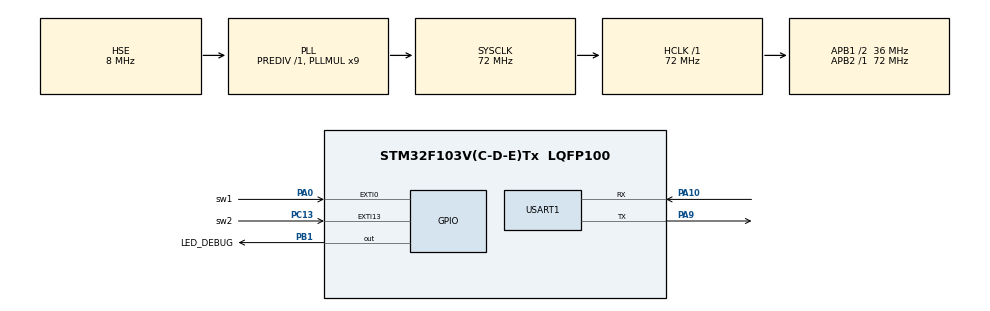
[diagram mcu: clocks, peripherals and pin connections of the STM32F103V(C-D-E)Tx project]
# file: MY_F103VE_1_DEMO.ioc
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Mcu.Family=STM32F1
Mcu.Name=STM32F103V(C-D-E)Tx
Mcu.Package=LQFP100
NVIC.EXTI0_IRQn=true\:0\:0\:false\:false\:true\:true\:true\:true
NVIC.EXTI15_10_IRQn=true\:0\:0\:false\:false\:true\:true\:true\:true
NVIC.PriorityGroup=NVIC_PRIORITYGROUP_4
NVIC.USART1_IRQn=true\:0\:0\:false\:false\:true\:true\:true\:true
OSC_IN.Mode=HSE-External-Oscillator
OSC_IN.Signal=RCC_OSC_IN
OSC_OUT.Mode=HSE-External-Oscillator
OSC_OUT.Signal=RCC_OSC_OUT
PA0-WKUP.GPIO_Label=sw1
PA0-WKUP.GPIO_ModeDefaultEXTI=GPIO_MODE_IT_RISING_FALLING
PA0-WKUP.GPIO_PuPd=GPIO_PULLUP
PA0-WKUP.Signal=GPXTI0
PA10.Mode=Asynchronous
PA10.Signal=USART1_RX
PA9.Mode=Asynchronous
PA9.Signal=USART1_TX
PB1.GPIO_Label=LED_DEBUG
PB1.PinState=GPIO_PIN_SET
PB1.Signal=GPIO_Output
PC13-TAMPER-RTC.GPIO_Label=sw2
PC13-TAMPER-RTC.GPIO_ModeDefaultEXTI=GPIO_MODE_IT_RISING_FALLING
PC13-TAMPER-RTC.GPIO_PuPd=GPIO_PULLUP
PC13-TAMPER-RTC.Signal=GPXTI13
ProjectManager.HeapSize=0x200
ProjectManager.StackSize=0x400
ProjectManager.TargetToolchain=MDK-ARM V5.32
RCC.AHBFreq_Value=72000000
RCC.APB1CLKDivider=RCC_HCLK_DIV2
RCC.APB1Freq_Value=36000000
RCC.APB1TimFreq_Value=72000000
RCC.APB2Freq_Value=72000000
RCC.APB2TimFreq_Value=72000000
RCC.HCLKFreq_Value=72000000
RCC.PLLMUL=RCC_PLL_MUL9
RCC.PLLSourceVirtual=RCC_PLLSOURCE_HSE
RCC.SYSCLKFreq_VALUE=72000000
RCC.SYSCLKSource=RCC_SYSCLKSOURCE_PLLCLK
RCC.USBFreq_Value=72000000
USART1.VirtualMode=VM_ASYNC
VP_SYS_VS_ND.Mode=No_Debug
board=custom

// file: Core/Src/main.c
/* USER CODE BEGIN Header */
/**
  ******************************************************************************
  * @file           : main.c
  * @brief          : Main program body
  ******************************************************************************
  * @attention
  *
  * Copyright (c) 2024 STMicroelectronics.
  * All rights reserved.
  *
  * This software is licensed under terms that can be found in the LICENSE file
  * in the root directory of this software component.
  * If no LICENSE file comes with this software, it is provided AS-IS.
  *
  ******************************************************************************
  */
/* USER CODE END Header */
#include "main.h"

/* USER CODE BEGIN Includes */
#include "ws_drive_borad.h"
/* USER CODE END Includes */

UART_HandleTypeDef huart1;

/* USER CODE BEGIN PV */
uint8_t uart1RxBuffer[128];
uint8_t uart1RxDat = 0;
uint16_t uart1RxCount = 0;
uint8_t uart1RxTimeout = 0;
/* USER CODE END PV */

void SystemClock_Config(void);
static void MX_GPIO_Init(void);
static void MX_USART1_UART_Init(void);

/* USER CODE BEGIN 0 */
void HAL_UART_RxCpltCallback(UART_HandleTypeDef *huart)
{
  /* Prevent unused argument(s) compilation warning */
  UNUSED(huart);
  /* NOTE: This function should not be modified, when the callback is needed,
           the HAL_UART_RxCpltCallback could be implemented in the user file
   */
	if(huart == &huart1)
	{
//		HAL_UART_Transmit_IT(&huart1,uart1RxBuffer,1);
		uart1RxBuffer[uart1RxCount ++] = uart1RxDat;
		if(uart1RxCount >= sizeof(uart1RxBuffer))
		{
			uart1RxCount = sizeof(uart1RxBuffer) - 1;
		}
		uart1RxTimeout = 1; //超时为1
		HAL_UART_Receive_IT(&huart1,&uart1RxDat,1);
	}
}

/* USER CODE END 0 */

int main(void)
{

  /* USER CODE BEGIN 1 */
	int count=0;
	uint8_t key = 0;
  /* USER CODE END 1 */

  /* MCU Configuration--------------------------------------------------------*/

  /* Reset of all peripherals, Initializes the Flash interface and the Systick. */
  HAL_Init();

  /* Configure the system clock */
  SystemClock_Config();

  /* Initialize all configured peripherals */
  MX_GPIO_Init();
  MX_USART1_UART_Init();
  /* USER CODE BEGIN 2 */

  WS_Debug("HCLK = %d\r\n",SystemCoreClock);

  HAL_UART_Receive_IT(&huart1,&uart1RxDat,1);

  /*
1.先使能DWT外设,由内核调试寄存器DWT_CR的位24控制，写1使能

2.使能CYCCNT寄存器之前，先清0

3.使能CYCNNT寄存器，由DWT_CTRL的位0控制，写1使能
  */
  //DWT初始化
  CoreDebug->DEMCR |= 1 << 24 ;    //使能DWT外设
  DWT->CYCCNT       = 0;           //清零CYCCNT
  DWT->CTRL        |= 1 << 0;     //使能计数

  /* USER CODE END 2 */

  /* Infinite loop */
  /* USER CODE BEGIN WHILE */
  while (1)
  {
	if(uart1RxTimeout > 0)
	{
		if(++ uart1RxTimeout == 5)
		{
			uart1RxTimeout = 0;
			HAL_UART_Transmit_IT(&huart1,uart1RxBuffer,uart1RxCount);
			uart1RxCount = 0; //实时发送接收
		}

	}

	HAL_Delay(1); //延时一下

    /* USER CODE END WHILE */

  }
}

void SystemClock_Config(void)
{
  RCC_OscInitTypeDef RCC_OscInitStruct = {0};
  RCC_ClkInitTypeDef RCC_ClkInitStruct = {0};

  /** Initializes the RCC Oscillators according to the specified parameters
  * in the RCC_OscInitTypeDef structure.
  */
  RCC_OscInitStruct.OscillatorType = RCC_OSCILLATORTYPE_HSE;
  RCC_OscInitStruct.HSEState = RCC_HSE_ON;
  RCC_OscInitStruct.HSEPredivValue = RCC_HSE_PREDIV_DIV1;
  RCC_OscInitStruct.HSIState = RCC_HSI_ON;
  RCC_OscInitStruct.PLL.PLLState = RCC_PLL_ON;
  RCC_OscInitStruct.PLL.PLLSource = RCC_PLLSOURCE_HSE;
  RCC_OscInitStruct.PLL.PLLMUL = RCC_PLL_MUL9;
  if (HAL_RCC_OscConfig(&RCC_OscInitStruct) != HAL_OK)
  {
    Error_Handler();
  }

  /** Initializes the CPU, AHB and APB buses clocks
  */
  RCC_ClkInitStruct.ClockType = RCC_CLOCKTYPE_HCLK|RCC_CLOCKTYPE_SYSCLK
                              |RCC_CLOCKTYPE_PCLK1|RCC_CLOCKTYPE_PCLK2;
  RCC_ClkInitStruct.SYSCLKSource = RCC_SYSCLKSOURCE_PLLCLK;
  RCC_ClkInitStruct.AHBCLKDivider = RCC_SYSCLK_DIV1;
  RCC_ClkInitStruct.APB1CLKDivider = RCC_HCLK_DIV2;
  RCC_ClkInitStruct.APB2CLKDivider = RCC_HCLK_DIV1;

  if (HAL_RCC_ClockConfig(&RCC_ClkInitStruct, FLASH_LATENCY_2) != HAL_OK)
  {
    Error_Handler();
  }
}

static void MX_USART1_UART_Init(void)
{

  huart1.Instance = USART1;
  huart1.Init.BaudRate = 115200;
  huart1.Init.WordLength = UART_WORDLENGTH_8B;
  huart1.Init.StopBits = UART_STOPBITS_1;
  huart1.Init.Parity = UART_PARITY_NONE;
  huart1.Init.Mode = UART_MODE_TX_RX;
  huart1.Init.HwFlowCtl = UART_HWCONTROL_NONE;
  huart1.Init.OverSampling = UART_OVERSAMPLING_16;
  if (HAL_UART_Init(&huart1) != HAL_OK)
  {
    Error_Handler();
  }

}

static void MX_GPIO_Init(void)
{
  GPIO_InitTypeDef GPIO_InitStruct = {0};

  /* GPIO Ports Clock Enable */
  __HAL_RCC_GPIOC_CLK_ENABLE();
  __HAL_RCC_GPIOA_CLK_ENABLE();
  __HAL_RCC_GPIOB_CLK_ENABLE();

  /*Configure GPIO pin Output Level */
  HAL_GPIO_WritePin(LED_DEBUG_GPIO_Port, LED_DEBUG_Pin, GPIO_PIN_SET);

  /*Configure GPIO pin : sw2_Pin */
  GPIO_InitStruct.Pin = sw2_Pin;
  GPIO_InitStruct.Mode = GPIO_MODE_IT_RISING_FALLING;
  GPIO_InitStruct.Pull = GPIO_PULLUP;
  HAL_GPIO_Init(sw2_GPIO_Port, &GPIO_InitStruct);

  /*Configure GPIO pin : sw1_Pin */
  GPIO_InitStruct.Pin = sw1_Pin;
  GPIO_InitStruct.Mode = GPIO_MODE_IT_RISING_FALLING;
  GPIO_InitStruct.Pull = GPIO_PULLUP;
  HAL_GPIO_Init(sw1_GPIO_Port, &GPIO_InitStruct);

  /*Configure GPIO pin : LED_DEBUG_Pin */
  GPIO_InitStruct.Pin = LED_DEBUG_Pin;
  GPIO_InitStruct.Mode = GPIO_MODE_OUTPUT_PP;
  GPIO_InitStruct.Pull = GPIO_NOPULL;
  GPIO_InitStruct.Speed = GPIO_SPEED_FREQ_LOW;
  HAL_GPIO_Init(LED_DEBUG_GPIO_Port, &GPIO_InitStruct);

  /* EXTI interrupt init*/
  HAL_NVIC_SetPriority(EXTI0_IRQn, 0, 0);
  HAL_NVIC_EnableIRQ(EXTI0_IRQn);

  HAL_NVIC_SetPriority(EXTI15_10_IRQn, 0, 0);
  HAL_NVIC_EnableIRQ(EXTI15_10_IRQn);

}

void Error_Handler(void)
{
  __disable_irq();
  while (1)
  {
  }
}
